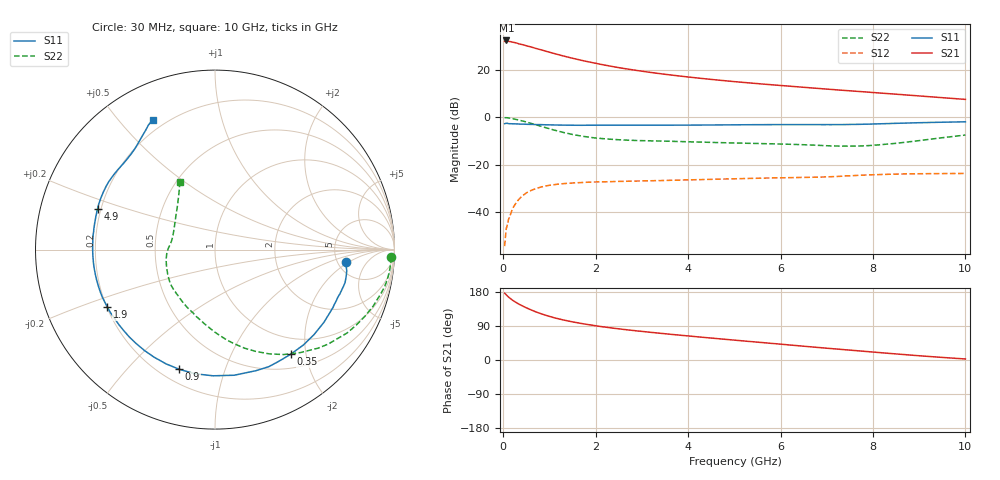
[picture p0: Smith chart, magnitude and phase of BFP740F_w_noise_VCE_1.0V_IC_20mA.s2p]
! Infineon Technologies  Discrete & RF Semiconductors
! BFP740F
! VCE =  1.0 V,  IC =  20 mA
! Common Emitter S-Parameters:  Oct 2012
# GHz  S  MA  R  50
!  f  S11  S21  S12  S22
! GHz  MAG  ANG  MAG  ANG  MAG  ANG  MAG  ANG
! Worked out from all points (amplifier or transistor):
!   99 points, 30 MHz to 10 GHz, reference 50 ohm
!   highest |S21| = 32.5 dB at 70 MHz (marker M1)
!   |S21| within 3 dB of that: start of sweep to 645.4 MHz
!   unconditionally stable (mu >= 1): 5.697 GHz to end of sweep
!   at 350 MHz: K = 0.11, MSG = 32.7 dB, |S12| = -34.4 dB
!   at 3.5 GHz: K = 0.70, MSG = 22.4 dB, |S12| = -26.7 dB
!   at 10 GHz: K = 1.27, MAG = 12.5 dB, |S12| = -23.7 dB
!   lowest NFmin = 0.64 dB at 450 MHz
!   S11 on the Smith chart (normalised r, x): 30 MHz: 5.94, -1.76; 350 MHz: 0.72, -1.73; 900 MHz: 0.27, -0.71; 1.9 GHz: 0.20, -0.24; 4.9 GHz: 0.19, +0.16; 10 GHz: 0.15, +0.62
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0.03  0.7324 -5.4  40.19 176.5  0.0019 99.5  0.9789 -2.5
0.05  0.7431 -9.0  41.47 174.2  0.0031 76.0  0.9805 -4.8
0.07  0.7466 -12.5  41.93 171.5  0.0047 78.0  0.9792 -7.0
0.12  0.7339 -21.3  40.15 165.6  0.0072 80.2  0.9677 -12.2
0.2  0.7297 -33.7  38.67 157.9  0.0117 75.1  0.9357 -19.7
0.3  0.7246 -47.2  36.75 150.3  0.0168 69.3  0.8915 -28.3
0.35  0.7195 -54.1  35.26 146.7  0.019 66.5  0.8701 -32.3
0.45  0.7178 -65.3  33.6 140.6  0.0233 60.4  0.8218 -39.8
0.6  0.7081 -81.3  30.62 132.4  0.0284 53.2  0.7449 -50.4
0.7  0.7032 -90.9  28.6 127.3  0.0312 49.0  0.6988 -56.8
0.9  0.696 -106.6  25.26 118.8  0.0352 41.8  0.6107 -68.2
1.1  0.6887 -119.5  22.25 111.6  0.0378 36.5  0.5373 -78.2
1.3  0.6833 -129.9  19.73 105.7  0.0397 32.5  0.4788 -86.9
1.7  0.6785 -145.7  15.91 96.2  0.0419 27.1  0.3999 -101.9
1.9  0.6798 -151.8  14.46 92.3  0.0428 25.3  0.375 -108.7
2.6  0.6808 -167.8  10.79 80.8  0.0444 21.4  0.3321 -127.3
3.4  0.6818 179.6  8.33 70.5  0.0461 19.6  0.3154 -140.6
4.9  0.6922 161.0  5.788 53.5  0.0501 18.2  0.2885 -158.5
5.1  0.6952 158.9  5.558 51.4  0.0505 18.0  0.2855 -161.1
6.7  0.7007 141.7  4.151 34.3  0.0542 17.3  0.2589 177.8
8.5  0.7457 123.5  3.074 16.0  0.0633 14.1  0.2822 141.0
10  0.803 115.5  2.387 2.7  0.0652 9.5  0.4221 117.6
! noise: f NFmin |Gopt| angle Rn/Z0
0.45  0.64  0.06  8  1.06
0.9  0.67  0.07  22  0.67
1.5  0.72  0.07  40  0.48
1.9  0.75  0.07  56  0.4
2.4  0.8  0.07  74  0.41
3.5  0.9  0.06  94  0.37
5.5  1.08  0.09  -158  0.31
10  1.47  0.39  -107  0.12
